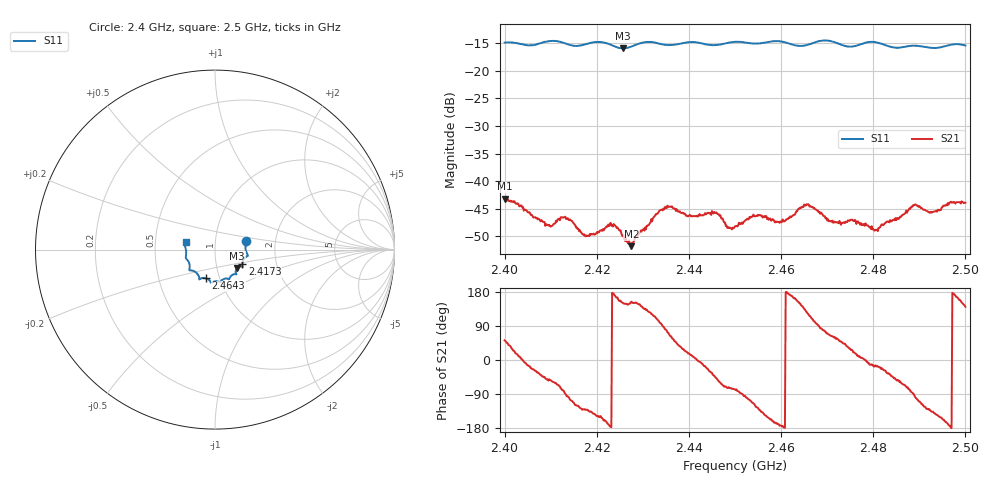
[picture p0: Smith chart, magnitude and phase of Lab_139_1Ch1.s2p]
# Hz S RI R 50
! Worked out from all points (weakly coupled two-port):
!   601 points, 2.4 GHz to 2.5 GHz, reference 50 ohm
!   highest |S21| = -43.17 dB at 2.4 GHz (marker M1); lowest = -51.8 dB at 2.4275 GHz (marker M2)
!   lowest |S11| = -15.9 dB at 2.4257 GHz (marker M3), VSWR 1.38, Z = 62.5 - j13.1 ohm
!   |S11| at or under -10 dB: start of sweep to end of sweep
!   S12 and S22 are empty: the file has one direction only
!   S11 on the Smith chart (normalised r, x): 2.4 GHz: 1.41, +0.14; 2.4173 GHz: 1.34, -0.23; 2.4643 GHz: 0.86, -0.28; 2.5 GHz: 0.72, +0.06
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2.4e9  0.1733 0.0493  0.00429 0.00546  0 0  0 0
2.409333e9  0.1825 -0.0303  0.00252 -0.00312  0 0  0 0
2.413333e9  0.1708 -0.0418  -0.000154 -0.00454  0 0  0 0
2.416667e9  0.1529 -0.0749  -0.00211 -0.00267  0 0  0 0
2.417333e9  0.1522 -0.0824  -0.00211 -0.00253  0 0  0 0
2.423333e9  0.1424 -0.0934  -0.00402 0.00019  0 0  0 0
2.425667e9  0.1226 -0.1022  -0.00276 0.00155  0 0  0 0
2.4275e9  0.1155 -0.1191  -0.00231 0.00113  0 0  0 0
2.433333e9  0.1127 -0.1366  -0.00128 0.00497  0 0  0 0
2.435833e9  0.0956 -0.1418  0.00247 0.00529  0 0  0 0
2.4455e9  0.0511 -0.163  0.00393 -0.0035  0 0  0 0
2.45e9  0.0298 -0.1808  0.000838 -0.0038  0 0  0 0
2.4545e9  0.00594 -0.1762  -0.00265 -0.00401  0 0  0 0
2.4605e9  -0.0247 -0.1813  -0.00433 -0.000196  0 0  0 0
2.464333e9  -0.0503 -0.1604  -0.00464 0.00331  0 0  0 0
2.466667e9  -0.0761 -0.1597  -0.00189 0.00549  0 0  0 0
2.470833e9  -0.0869 -0.164  0.00194 0.0039  0 0  0 0
2.4805e9  -0.143 -0.1121  0.00351 -0.000874  0 0  0 0
2.483333e9  -0.141 -0.0895  0.00353 -0.00247  0 0  0 0
2.488833e9  -0.1623 -0.0467  -7.05e-05 -0.00603  0 0  0 0
2.492667e9  -0.1604 -0.0176  -0.00375 -0.00358  0 0  0 0
2.5e9  -0.1641 0.0423  -0.00491 0.00406  0 0  0 0
